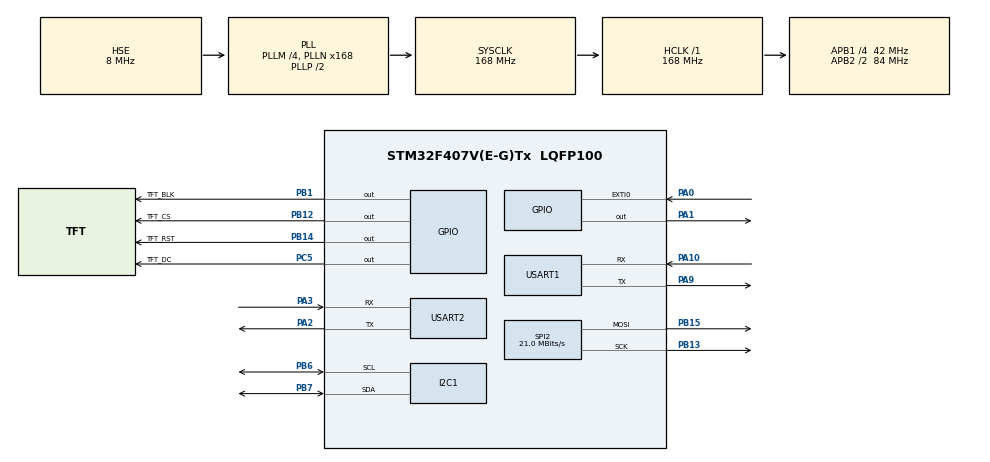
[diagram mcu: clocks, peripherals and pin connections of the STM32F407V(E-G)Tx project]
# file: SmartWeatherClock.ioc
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Dma.Request0=USART2_TX
Dma.USART2_TX.0.Direction=DMA_MEMORY_TO_PERIPH
Dma.USART2_TX.0.FIFOMode=DMA_FIFOMODE_DISABLE
Dma.USART2_TX.0.Instance=DMA1_Stream6
Dma.USART2_TX.0.MemDataAlignment=DMA_MDATAALIGN_BYTE
Dma.USART2_TX.0.MemInc=DMA_MINC_ENABLE
Dma.USART2_TX.0.Mode=DMA_NORMAL
Dma.USART2_TX.0.PeriphDataAlignment=DMA_PDATAALIGN_BYTE
Dma.USART2_TX.0.PeriphInc=DMA_PINC_DISABLE
Dma.USART2_TX.0.Priority=DMA_PRIORITY_LOW
FREERTOS.Tasks01=defaultTask,24,512,StartDefaultTask,Default,NULL,Dynamic,NULL,NULL
FREERTOS.configCHECK_FOR_STACK_OVERFLOW=2
FREERTOS.configMINIMAL_STACK_SIZE=512
FREERTOS.configTOTAL_HEAP_SIZE=20480
Mcu.Family=STM32F4
Mcu.Name=STM32F407V(E-G)Tx
Mcu.Package=LQFP100
NVIC.DMA1_Stream6_IRQn=true\:5\:0\:false\:false\:true\:true\:false\:true\:true
NVIC.EXTI0_IRQn=true\:5\:0\:false\:false\:true\:true\:true\:true\:true
NVIC.I2C1_ER_IRQn=true\:6\:0\:true\:false\:true\:true\:true\:true\:true
NVIC.I2C1_EV_IRQn=true\:6\:0\:true\:false\:true\:true\:true\:true\:true
NVIC.PriorityGroup=NVIC_PRIORITYGROUP_4
NVIC.TIM6_DAC_IRQn=true\:15\:0\:false\:false\:true\:false\:false\:true\:true
NVIC.TimeBase=TIM6_DAC_IRQn
NVIC.TimeBaseIP=TIM6
NVIC.USART1_IRQn=true\:6\:0\:true\:false\:true\:true\:true\:true\:true
NVIC.USART2_IRQn=true\:6\:0\:true\:false\:true\:true\:true\:true\:true
PA0-WKUP.GPIO_ModeDefaultEXTI=GPIO_MODE_IT_RISING
PA0-WKUP.GPIO_PuPd=GPIO_PULLDOWN
PA0-WKUP.Signal=GPXTI0
PA1.PinState=GPIO_PIN_SET
PA1.Signal=GPIO_Output
PA10.Mode=Asynchronous
PA10.Signal=USART1_RX
PA13.Mode=Serial_Wire
PA13.Signal=SYS_JTMS-SWDIO
PA14.Mode=Serial_Wire
PA14.Signal=SYS_JTCK-SWCLK
PA2.Mode=Asynchronous
PA2.Signal=USART2_TX
PA3.Mode=Asynchronous
PA3.Signal=USART2_RX
PA9.Mode=Asynchronous
PA9.Signal=USART1_TX
PB1.GPIO_Label=TFT_BLK
PB1.GPIO_Speed=GPIO_SPEED_FREQ_VERY_HIGH
PB1.PinState=GPIO_PIN_SET
PB1.Signal=GPIO_Output
PB12.GPIO_Label=TFT_CS
PB12.GPIO_Speed=GPIO_SPEED_FREQ_VERY_HIGH
PB12.PinState=GPIO_PIN_SET
PB12.Signal=GPIO_Output
PB13.Mode=TX_Only_Simplex_Unidirect_Master
PB13.Signal=SPI2_SCK
PB14.GPIO_Label=TFT_RST
PB14.GPIO_Speed=GPIO_SPEED_FREQ_VERY_HIGH
PB14.PinState=GPIO_PIN_SET
PB14.Signal=GPIO_Output
PB15.Mode=TX_Only_Simplex_Unidirect_Master
PB15.Signal=SPI2_MOSI
PB6.Mode=I2C
PB6.Signal=I2C1_SCL
PB7.Mode=I2C
PB7.Signal=I2C1_SDA
PC5.GPIO_Label=TFT_DC
PC5.GPIO_Speed=GPIO_SPEED_FREQ_VERY_HIGH
PC5.PinState=GPIO_PIN_SET
PC5.Signal=GPIO_Output
PH0-OSC_IN.Mode=HSE-External-Oscillator
PH0-OSC_IN.Signal=RCC_OSC_IN
PH1-OSC_OUT.Mode=HSE-External-Oscillator
PH1-OSC_OUT.Signal=RCC_OSC_OUT
ProjectManager.HeapSize=0x200
ProjectManager.StackSize=0x400
ProjectManager.TargetToolchain=CMake
RCC.48MHZClocksFreq_Value=84000000
RCC.AHBFreq_Value=168000000
RCC.APB1CLKDivider=RCC_HCLK_DIV4
RCC.APB1Freq_Value=42000000
RCC.APB1TimFreq_Value=84000000
RCC.APB2CLKDivider=RCC_HCLK_DIV2
RCC.APB2Freq_Value=84000000
RCC.APB2TimFreq_Value=168000000
RCC.CortexFreq_Value=168000000
RCC.HCLKFreq_Value=168000000
RCC.HSE_VALUE=8000000
RCC.HSI_VALUE=16000000
RCC.LSE_VALUE=32768
RCC.PLLM=4
RCC.PLLN=168
RCC.PLLSourceVirtual=RCC_PLLSOURCE_HSE
RCC.SYSCLKFreq_VALUE=168000000
RCC.SYSCLKSource=RCC_SYSCLKSOURCE_PLLCLK
RCC.VCOOutputFreq_Value=336000000
SPI2.BaudRatePrescaler=SPI_BAUDRATEPRESCALER_2
SPI2.CalculateBaudRate=21.0 MBits/s
SPI2.Direction=SPI_DIRECTION_2LINES
SPI2.Mode=SPI_MODE_MASTER
SPI2.VirtualType=VM_MASTER
USART1.VirtualMode=VM_ASYNC
USART2.VirtualMode=VM_ASYNC
VP_FREERTOS_VS_CMSIS_V2.Mode=CMSIS_V2
VP_SYS_VS_tim6.Mode=TIM6
board=custom

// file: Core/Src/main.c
/* USER CODE BEGIN Header */
/**
 ******************************************************************************
 * @file           : main.c
 * @brief          : Main program body
 ******************************************************************************
 * @attention
 *
 * Copyright (c) 2026 STMicroelectronics.
 * All rights reserved.
 *
 * This software is licensed under terms that can be found in the LICENSE file
 * in the root directory of this software component.
 * If no LICENSE file comes with this software, it is provided AS-IS.
 *
 ******************************************************************************
 */
/* USER CODE END Header */
#include "main.h"
#include "cmsis_os.h"

/* USER CODE BEGIN Includes */
#include <stdint.h>
#include <stdio.h>
#include "stm32f4xx_hal.h"
#include "uart.h"
#include "aht20.h"
#include "bmp280.h"
#include "esp32.h"
#include "st7789.h"
#include "font.h"
#include "gui.h"
#include <stdbool.h>
#include <string.h>
#include "icon_wifi.h"
#include "ui.h"
#include "clock.h"
 #include "app.h"
/* USER CODE END Includes */

I2C_HandleTypeDef hi2c1;

SPI_HandleTypeDef hspi2;

UART_HandleTypeDef huart1;
UART_HandleTypeDef huart2;
DMA_HandleTypeDef hdma_usart2_tx;

/* Definitions for defaultTask */
osThreadId_t defaultTaskHandle;
const osThreadAttr_t defaultTask_attributes = {
  .name = "defaultTask",
  .stack_size = 512 * 4,
  .priority = (osPriority_t) osPriorityNormal,
};

void SystemClock_Config(void);
static void MX_GPIO_Init(void);
static void MX_DMA_Init(void);
static void MX_USART1_UART_Init(void);
static void MX_I2C1_Init(void);
static void MX_SPI2_Init(void);
static void MX_USART2_UART_Init(void);
void StartDefaultTask(void *argument);

int main(void)
{

  /* MCU Configuration--------------------------------------------------------*/

  /* Reset of all peripherals, Initializes the Flash interface and the Systick. */
  HAL_Init();

  /* Configure the system clock */
  SystemClock_Config();

  /* Initialize all configured peripherals */
  MX_GPIO_Init();
  MX_DMA_Init();
  MX_USART1_UART_Init();
  MX_I2C1_Init();
  MX_SPI2_Init();
  MX_USART2_UART_Init();
  /* USER CODE BEGIN 2 */
  /* NOTE: AHT20 的读取用到了 osSemaphoreAcquire(会阻塞),
   * 而这里是调度器启动之前, 不能阻塞 -> 开机不做 AHT20 自检。
   * AHT20 每 2 秒由 TaskSensor 读取, 并在 app_start() 里 AHT20_Init() 建信号量。*/

  uint32_t adc_P, adc_T;
  BMP280_ReadCalib();
  BMP280_WriteReg(0xf4, 0x27);
  HAL_Delay(20);
  BMP280_ReadData(&adc_P, &adc_T);
  int32_t temp = BMP280_CompensateTemp((int32_t)adc_T);
  uint32_t press = BMP280_CompensatePress((int32_t)adc_P);
  printf("BMP280 temp=%ld.%02ld C press=%lu.%02lu hPa\r\n", temp / 100, temp % 100, press / 100, press % 100);

  ST7789_Init();
  ui_init();
  /* ---- ESP32 链路启动: 请求天气 + 对时 ---- */
  ESP32_Init();
  app_start();
  /* USER CODE END 2 */

  /* Init scheduler */
  osKernelInitialize();

  /* Create the thread(s) */
  /* creation of defaultTask */
  defaultTaskHandle = osThreadNew(StartDefaultTask, NULL, &defaultTask_attributes);

  /* Start scheduler */
  osKernelStart();

  /* We should never get here as control is now taken by the scheduler */

  /* Infinite loop */
  /* USER CODE BEGIN WHILE */
  /* USER CODE END 2 */
  while (1)
  {
    /* USER CODE END WHILE */

    /* USER CODE BEGIN 3 */
    /* biz logic moved to Hardware/app.c (clock/ui/comm/sensor tasks) */
  }
  /* USER CODE END 3 */
}

void SystemClock_Config(void)
{
  RCC_OscInitTypeDef RCC_OscInitStruct = {0};
  RCC_ClkInitTypeDef RCC_ClkInitStruct = {0};

  /** Configure the main internal regulator output voltage
  */
  __HAL_RCC_PWR_CLK_ENABLE();
  __HAL_PWR_VOLTAGESCALING_CONFIG(PWR_REGULATOR_VOLTAGE_SCALE1);

  /** Initializes the RCC Oscillators according to the specified parameters
  * in the RCC_OscInitTypeDef structure.
  */
  RCC_OscInitStruct.OscillatorType = RCC_OSCILLATORTYPE_HSE;
  RCC_OscInitStruct.HSEState = RCC_HSE_ON;
  RCC_OscInitStruct.PLL.PLLState = RCC_PLL_ON;
  RCC_OscInitStruct.PLL.PLLSource = RCC_PLLSOURCE_HSE;
  RCC_OscInitStruct.PLL.PLLM = 4;
  RCC_OscInitStruct.PLL.PLLN = 168;
  RCC_OscInitStruct.PLL.PLLP = RCC_PLLP_DIV2;
  RCC_OscInitStruct.PLL.PLLQ = 4;
  if (HAL_RCC_OscConfig(&RCC_OscInitStruct) != HAL_OK)
  {
    Error_Handler();
  }

  /** Initializes the CPU, AHB and APB buses clocks
  */
  RCC_ClkInitStruct.ClockType = RCC_CLOCKTYPE_HCLK|RCC_CLOCKTYPE_SYSCLK
                              |RCC_CLOCKTYPE_PCLK1|RCC_CLOCKTYPE_PCLK2;
  RCC_ClkInitStruct.SYSCLKSource = RCC_SYSCLKSOURCE_PLLCLK;
  RCC_ClkInitStruct.AHBCLKDivider = RCC_SYSCLK_DIV1;
  RCC_ClkInitStruct.APB1CLKDivider = RCC_HCLK_DIV4;
  RCC_ClkInitStruct.APB2CLKDivider = RCC_HCLK_DIV2;

  if (HAL_RCC_ClockConfig(&RCC_ClkInitStruct, FLASH_LATENCY_5) != HAL_OK)
  {
    Error_Handler();
  }
}

static void MX_I2C1_Init(void)
{

  hi2c1.Instance = I2C1;
  hi2c1.Init.ClockSpeed = 100000;
  hi2c1.Init.DutyCycle = I2C_DUTYCYCLE_2;
  hi2c1.Init.OwnAddress1 = 0;
  hi2c1.Init.AddressingMode = I2C_ADDRESSINGMODE_7BIT;
  hi2c1.Init.DualAddressMode = I2C_DUALADDRESS_DISABLE;
  hi2c1.Init.OwnAddress2 = 0;
  hi2c1.Init.GeneralCallMode = I2C_GENERALCALL_DISABLE;
  hi2c1.Init.NoStretchMode = I2C_NOSTRETCH_DISABLE;
  if (HAL_I2C_Init(&hi2c1) != HAL_OK)
  {
    Error_Handler();
  }

}

static void MX_SPI2_Init(void)
{

  /* SPI2 parameter configuration*/
  hspi2.Instance = SPI2;
  hspi2.Init.Mode = SPI_MODE_MASTER;
  hspi2.Init.Direction = SPI_DIRECTION_2LINES;
  hspi2.Init.DataSize = SPI_DATASIZE_8BIT;
  hspi2.Init.CLKPolarity = SPI_POLARITY_LOW;
  hspi2.Init.CLKPhase = SPI_PHASE_1EDGE;
  hspi2.Init.NSS = SPI_NSS_SOFT;
  hspi2.Init.BaudRatePrescaler = SPI_BAUDRATEPRESCALER_2;
  hspi2.Init.FirstBit = SPI_FIRSTBIT_MSB;
  hspi2.Init.TIMode = SPI_TIMODE_DISABLE;
  hspi2.Init.CRCCalculation = SPI_CRCCALCULATION_DISABLE;
  hspi2.Init.CRCPolynomial = 10;
  if (HAL_SPI_Init(&hspi2) != HAL_OK)
  {
    Error_Handler();
  }

}

static void MX_USART1_UART_Init(void)
{

  huart1.Instance = USART1;
  huart1.Init.BaudRate = 115200;
  huart1.Init.WordLength = UART_WORDLENGTH_8B;
  huart1.Init.StopBits = UART_STOPBITS_1;
  huart1.Init.Parity = UART_PARITY_NONE;
  huart1.Init.Mode = UART_MODE_TX_RX;
  huart1.Init.HwFlowCtl = UART_HWCONTROL_NONE;
  huart1.Init.OverSampling = UART_OVERSAMPLING_16;
  if (HAL_UART_Init(&huart1) != HAL_OK)
  {
    Error_Handler();
  }

}

static void MX_USART2_UART_Init(void)
{

  huart2.Instance = USART2;
  huart2.Init.BaudRate = 115200;
  huart2.Init.WordLength = UART_WORDLENGTH_8B;
  huart2.Init.StopBits = UART_STOPBITS_1;
  huart2.Init.Parity = UART_PARITY_NONE;
  huart2.Init.Mode = UART_MODE_TX_RX;
  huart2.Init.HwFlowCtl = UART_HWCONTROL_NONE;
  huart2.Init.OverSampling = UART_OVERSAMPLING_16;
  if (HAL_UART_Init(&huart2) != HAL_OK)
  {
    Error_Handler();
  }

}

static void MX_DMA_Init(void)
{

  /* DMA controller clock enable */
  __HAL_RCC_DMA1_CLK_ENABLE();

  /* DMA interrupt init */
  /* DMA1_Stream6_IRQn interrupt configuration */
  HAL_NVIC_SetPriority(DMA1_Stream6_IRQn, 5, 0);
  HAL_NVIC_EnableIRQ(DMA1_Stream6_IRQn);

}

static void MX_GPIO_Init(void)
{
  GPIO_InitTypeDef GPIO_InitStruct = {0};

  /* GPIO Ports Clock Enable */
  __HAL_RCC_GPIOH_CLK_ENABLE();
  __HAL_RCC_GPIOA_CLK_ENABLE();
  __HAL_RCC_GPIOC_CLK_ENABLE();
  __HAL_RCC_GPIOB_CLK_ENABLE();

  /*Configure GPIO pin Output Level */
  HAL_GPIO_WritePin(GPIOA, GPIO_PIN_1, GPIO_PIN_SET);

  /*Configure GPIO pin Output Level */
  HAL_GPIO_WritePin(TFT_DC_GPIO_Port, TFT_DC_Pin, GPIO_PIN_SET);

  /*Configure GPIO pin Output Level */
  HAL_GPIO_WritePin(GPIOB, TFT_BLK_Pin|TFT_CS_Pin|TFT_RST_Pin, GPIO_PIN_SET);

  /*Configure GPIO pin : PA0 */
  GPIO_InitStruct.Pin = GPIO_PIN_0;
  GPIO_InitStruct.Mode = GPIO_MODE_IT_RISING;
  GPIO_InitStruct.Pull = GPIO_PULLDOWN;
  HAL_GPIO_Init(GPIOA, &GPIO_InitStruct);

  /*Configure GPIO pin : PA1 */
  GPIO_InitStruct.Pin = GPIO_PIN_1;
  GPIO_InitStruct.Mode = GPIO_MODE_OUTPUT_PP;
  GPIO_InitStruct.Pull = GPIO_NOPULL;
  GPIO_InitStruct.Speed = GPIO_SPEED_FREQ_LOW;
  HAL_GPIO_Init(GPIOA, &GPIO_InitStruct);

  /*Configure GPIO pin : TFT_DC_Pin */
  GPIO_InitStruct.Pin = TFT_DC_Pin;
  GPIO_InitStruct.Mode = GPIO_MODE_OUTPUT_PP;
  GPIO_InitStruct.Pull = GPIO_NOPULL;
  GPIO_InitStruct.Speed = GPIO_SPEED_FREQ_VERY_HIGH;
  HAL_GPIO_Init(TFT_DC_GPIO_Port, &GPIO_InitStruct);

  /*Configure GPIO pins : TFT_BLK_Pin TFT_CS_Pin TFT_RST_Pin */
  GPIO_InitStruct.Pin = TFT_BLK_Pin|TFT_CS_Pin|TFT_RST_Pin;
  GPIO_InitStruct.Mode = GPIO_MODE_OUTPUT_PP;
  GPIO_InitStruct.Pull = GPIO_NOPULL;
  GPIO_InitStruct.Speed = GPIO_SPEED_FREQ_VERY_HIGH;
  HAL_GPIO_Init(GPIOB, &GPIO_InitStruct);

  /* EXTI interrupt init*/
  HAL_NVIC_SetPriority(EXTI0_IRQn, 5, 0);
  HAL_NVIC_EnableIRQ(EXTI0_IRQn);

}

void StartDefaultTask(void *argument)
{
  /* USER CODE BEGIN 5 */
  /* Infinite loop */
  for(;;)
  {
    app_report();            /* report heap/stack every 10s */
    osDelay(10000);          /* 10000 ticks = 10s (TICK_RATE_HZ=1000) */
  }
  /* USER CODE END 5 */
}

void HAL_TIM_PeriodElapsedCallback(TIM_HandleTypeDef *htim)
{
  if (htim->Instance == TIM6) {
    HAL_IncTick();
  }
}

void Error_Handler(void)
{
  __disable_irq();
  while (1)
  {
  }
}

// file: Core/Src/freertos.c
/* USER CODE BEGIN Header */
/**
  ******************************************************************************
  * File Name          : freertos.c
  * Description        : Code for freertos applications
  ******************************************************************************
  * @attention
  *
  * Copyright (c) 2026 STMicroelectronics.
  * All rights reserved.
  *
  * This software is licensed under terms that can be found in the LICENSE file
  * in the root directory of this software component.
  * If no LICENSE file comes with this software, it is provided AS-IS.
  *
  ******************************************************************************
  */
/* USER CODE END Header */

#include "FreeRTOS.h"
#include "task.h"
#include "main.h"

/* Hook prototypes */
void vApplicationStackOverflowHook(xTaskHandle xTask, signed char *pcTaskName);

/* USER CODE BEGIN 4 */
/* send one byte (implemented in uart.c) */
extern int __io_putchar(int ch);

void vApplicationStackOverflowHook(xTaskHandle xTask, signed char *pcTaskName)
{
   /* stack overflow hook: the stack is ALREADY corrupted here.
    * Do NOT call printf/log (printf itself needs 400+ bytes of stack).
    * Only use __io_putchar or direct register writes. */
   const char *p;
   (void)xTask;

   p = "\r\n!!! STACK OVERFLOW in task [";
   while (*p != '\0') { __io_putchar(*p++); }

   if (pcTaskName != NULL) {
      while (*pcTaskName != '\0') { __io_putchar(*pcTaskName++); }
   }

   p = "] !!!\r\n";
   while (*p != '\0') { __io_putchar(*p++); }

   __disable_irq();
   for (;;)
   {
   }
}
/* USER CODE END 4 */
